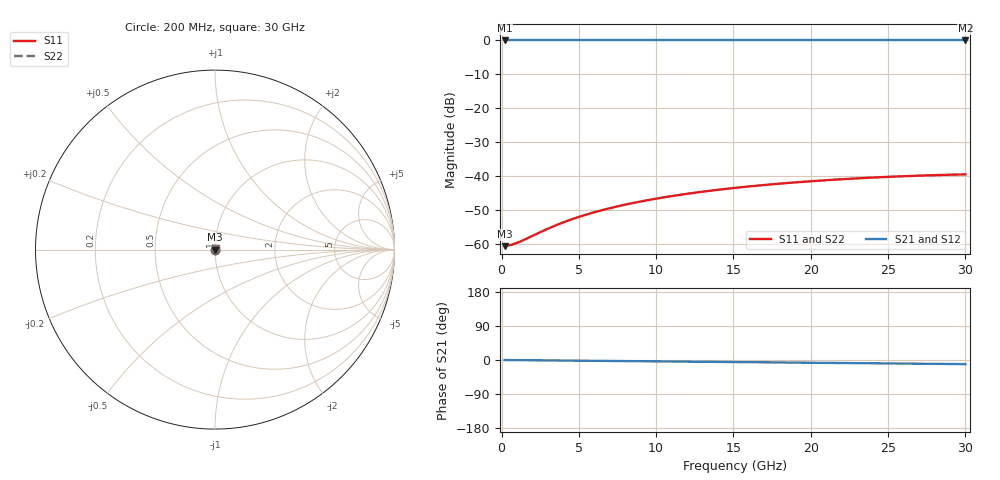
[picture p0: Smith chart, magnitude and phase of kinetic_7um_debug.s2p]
! Touchstone file exported from HFSS 2026.1.0
!  Generated:  11:52:31 AM Aug 24, 2026
!  Design:  HFSSDesign_Kinetic_debug
!  Project:  kinetic_stub_sweep
!  Setup:  Setup1
!  Solution:  Sweep_discrete_debug
! Variables:
!  stub_length = 2.5um
# GHz S MA R 50.000000
! Terminal data exported
! Port[1] = Port1
! Port[2] = Port2
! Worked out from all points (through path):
!   61 points, 200 MHz to 30 GHz, reference 50 ohm
!   highest |S21| = 0.00 dB at 200 MHz (marker M1); lowest = 0.0 dB at 30 GHz (marker M2)
!   group delay of S21, straight-line fit = 1.01 ps
!   lowest |S11| = -60.7 dB at 200 MHz (marker M3), VSWR 1.00, Z = 50.1 + j0.00926 ohm
!   |S11| at or under -10 dB: start of sweep to end of sweep
!   |S22| runs from -60.7 to -39.5 dB; largest |S21 - S12| = 1.6e-12
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0.2  0.0009258 5.7  1 -0.1  1 -0.1  0.0009258 174.1
! Gamma 0 167.683306366007 3.23626207961558E-36 167.573687306792
! Port Impedance 50 0 50 0
0.6966667  0.000977 19.2  1 -0.2  1 -0.2  0.000977 160.3
1.193333  0.001077 30.8  1 -0.4  1 -0.4  0.001077 148.4
2.683333  0.001555 52.7  1 -1.0  1 -1.0  0.001555 125.4
3.18  0.001746 57.0  1 -1.1  1 -1.1  0.001746 120.7
3.676667  0.001946 60.4  1 -1.3  1 -1.3  0.001946 117.0
4.173333  0.002151 63.1  1 -1.5  1 -1.5  0.002151 113.9
5.166667  0.002571 67.1  1 -1.9  1 -1.9  0.002571 109.2
6.16  0.002998 69.8  1 -2.2  1 -2.2  0.002998 105.7
6.656667  0.003213 70.9  1 -2.4  1 -2.4  0.003213 104.3
7.65  0.003642 72.5  1 -2.7  1 -2.7  0.003642 102.0
9.14  0.004282 74.2  1 -3.3  1 -3.3  0.004282 99.2
10.63  0.004913 75.2  1 -3.8  1 -3.8  0.004913 97.2
12.61667  0.00573 76.0  1 -4.5  1 -4.5  0.00573 95.0
13.61  0.006125 76.2  1 -4.9  1 -4.9  0.006125 94.0
15.1  0.006697 76.5  1 -5.4  1 -5.4  0.006697 92.6
17.58333  0.007595 76.7  1 -6.3  1 -6.3  0.007595 90.6
20.06667  0.008411 76.6  1 -7.2  1 -7.2  0.008411 88.9
22.55  0.009133 76.3  1 -8.1  1 -8.1  0.009133 87.5
25.53  0.009856 75.5  1 -9.2  1 -9.2  0.009856 86.0
27.51667  0.01024 74.9  0.9999 -10.0  0.9999 -10.0  0.01024 85.1
30  0.0106 74.1  0.9999 -10.9  0.9999 -10.9  0.0106 84.1
